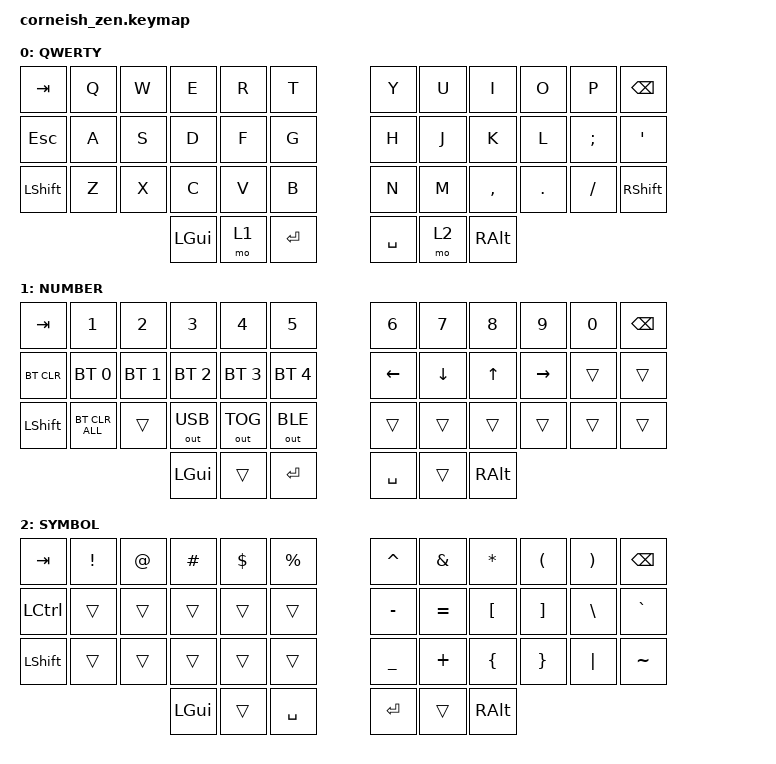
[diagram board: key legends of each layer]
/*
*
* Copyright (c) 2021 Darryl deHaan
* SPDX-License-Identifier: MIT
*
*/

#include <behaviors.dtsi>
#include <dt-bindings/zmk/bt.h>
#include <dt-bindings/zmk/keys.h>
#include <dt-bindings/zmk/outputs.h>

/ {
    chosen {
        zmk,matrix-transform = &default_transform;

        // zmk,matrix-transform = &five_column_transform;
    };
};

/ {
    keymap {
        compatible = "zmk,keymap";

        default_layer {
            display-name = "QWERTY";

            // --------------------------------------------------------------------------------
            // |  TAB |  Q  |  W  |  E  |  R  |  T  |   |  Y  |  U   |  I  |  O  |  P  | BKSP |
            // | CTRL |  A  |  S  |  D  |  F  |  G  |   |  H  |  J   |  K  |  L  |  ;  |  '   |
            // | SHFT |  Z  |  X  |  C  |  V  |  B  |   |  N  |  M   |  ,  |  .  |  /  | ESC  |
            //                    | GUI | LWR | SPC |   | ENT | RSE  | ALT |

            bindings = <
&kp TAB     &kp Q  &kp W  &kp E     &kp R  &kp T        &kp Y      &kp U  &kp I      &kp O    &kp P     &kp BSPC
&kp ESCAPE  &kp A  &kp S  &kp D     &kp F  &kp G        &kp H      &kp J  &kp K      &kp L    &kp SEMI  &kp SQT
&kp LSHFT   &kp Z  &kp X  &kp C     &kp V  &kp B        &kp N      &kp M  &kp COMMA  &kp DOT  &kp FSLH  &kp RSHIFT
                          &kp LGUI  &mo 1  &kp ENTER    &kp SPACE  &mo 2  &kp RALT
            >;
        };

        lower_layer {
            display-name = "NUMBER";

            // -----------------------------------------------------------------------------------------
            // |  TAB |  1  |  2  |  3  |  4  |  5  |   |  6  |  7  |  8  |  9  |  0  | BKSP |
            // | BTCLR| BT1 | BT2 | BT3 | BT4 | BT5 |   | LFT | DWN |  UP | RGT |     |      |
            // | SHFT |     |     |     |     |     |   |     |     |     |     |     |      |
            //                    | GUI |     | SPC |   | ENT |     | ALT |

            bindings = <
&kp TAB     &kp N1          &kp N2        &kp N3        &kp N4        &kp N5          &kp N6     &kp N7    &kp N8    &kp N9     &kp N0  &kp BSPC
&bt BT_CLR  &bt BT_SEL 0    &bt BT_SEL 1  &bt BT_SEL 2  &bt BT_SEL 3  &bt BT_SEL 4    &kp LEFT   &kp DOWN  &kp UP    &kp RIGHT  &trans  &trans
&kp LSHFT   &bt BT_CLR_ALL  &trans        &out OUT_USB  &out OUT_TOG  &out OUT_BLE    &trans     &trans    &trans    &trans     &trans  &trans
                                          &kp LGUI      &trans        &kp ENTER       &kp SPACE  &trans    &kp RALT
            >;
        };

        raise_layer {
            display-name = "SYMBOL";

            // -----------------------------------------------------------------------------------------
            // |  TAB |  !  |  @  |  #  |  $  |  %  |   |  ^  |  &  |  *  |  (  |  )  | BKSP |
            // | CTRL |     |     |     |     |     |   |  -  |  =  |  [  |  ]  |  \  |  `   |
            // | SHFT |     |     |     |     |     |   |  _  |  +  |  {  |  }  | "|" |  ~   |
            //                    | GUI |     | SPC |   | ENT |     | ALT |

            bindings = <
&kp TAB    &kp EXCL  &kp AT  &kp HASH  &kp DLLR  &kp PRCNT    &kp CARET  &kp AMPS   &kp ASTRK  &kp LPAR  &kp RPAR  &kp BSPC
&kp LCTRL  &trans    &trans  &trans    &trans    &trans       &kp MINUS  &kp EQUAL  &kp LBKT   &kp RBKT  &kp BSLH  &kp GRAVE
&kp LSHFT  &trans    &trans  &trans    &trans    &trans       &kp UNDER  &kp PLUS   &kp LBRC   &kp RBRC  &kp PIPE  &kp TILDE
                             &kp LGUI  &trans    &kp SPACE    &kp RET    &trans     &kp RALT
            >;
        };
    };
};
